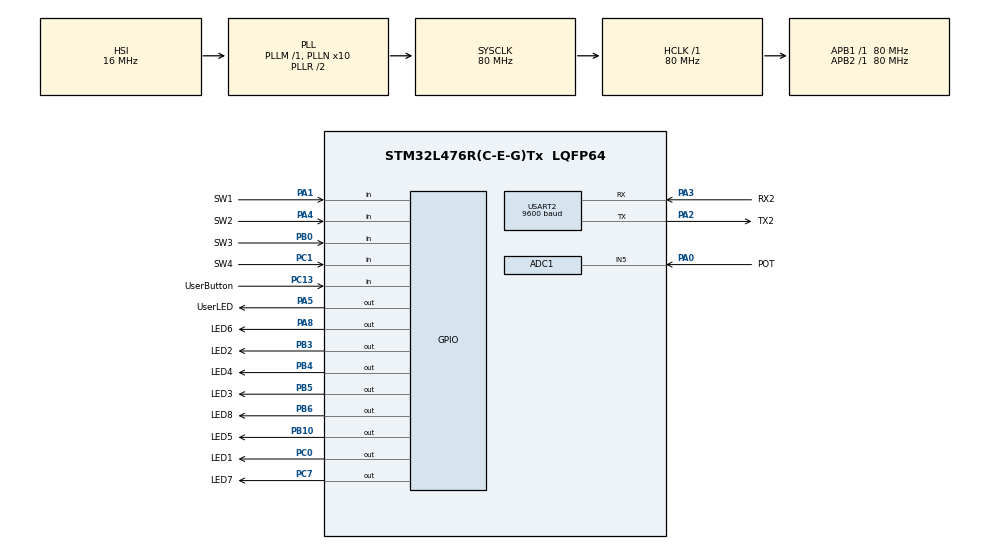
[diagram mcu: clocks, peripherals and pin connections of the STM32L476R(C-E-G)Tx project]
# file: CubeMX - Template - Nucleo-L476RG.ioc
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ADC1.Channel-0\#ChannelRegularConversion=ADC_CHANNEL_5
ADC1.NbrOfConversionFlag=1
ADC1.OffsetNumber-0\#ChannelRegularConversion=ADC_OFFSET_NONE
ADC1.Overrun=ADC_OVR_DATA_OVERWRITTEN
ADC1.Rank-0\#ChannelRegularConversion=1
ADC1.Resolution=ADC_RESOLUTION_12B
ADC1.SamplingTime-0\#ChannelRegularConversion=ADC_SAMPLETIME_2CYCLES_5
ADC1.master=1
Mcu.Family=STM32L4
Mcu.Name=STM32L476R(C-E-G)Tx
Mcu.Package=LQFP64
NVIC.PriorityGroup=NVIC_PRIORITYGROUP_4
PA0.GPIO_Label=POT
PA0.Signal=ADCx_IN5
PA1.GPIO_Label=SW1
PA1.Signal=GPIO_Input
PA13\ (JTMS-SWDIO).GPIO_Label=TMS
PA13\ (JTMS-SWDIO).Mode=Serial_Wire
PA13\ (JTMS-SWDIO).Signal=SYS_JTMS-SWDIO
PA14\ (JTCK-SWCLK).GPIO_Label=TCK
PA14\ (JTCK-SWCLK).Mode=Serial_Wire
PA14\ (JTCK-SWCLK).Signal=SYS_JTCK-SWCLK
PA2.GPIO_Label=TX2
PA2.GPIO_Mode=GPIO_MODE_AF_PP
PA2.GPIO_PuPd=GPIO_NOPULL
PA2.GPIO_Speed=GPIO_SPEED_FREQ_VERY_HIGH
PA2.Mode=Asynchronous
PA2.Signal=USART2_TX
PA3.GPIO_Label=RX2
PA3.GPIO_Mode=GPIO_MODE_AF_PP
PA3.GPIO_PuPd=GPIO_NOPULL
PA3.GPIO_Speed=GPIO_SPEED_FREQ_VERY_HIGH
PA3.Mode=Asynchronous
PA3.Signal=USART2_RX
PA4.GPIO_Label=SW2
PA4.Signal=GPIO_Input
PA5.GPIO_Label=UserLED
PA5.GPIO_ModeDefaultOutputPP=GPIO_MODE_OUTPUT_PP
PA5.GPIO_PuPd=GPIO_NOPULL
PA5.GPIO_Speed=GPIO_SPEED_FREQ_LOW
PA5.Signal=GPIO_Output
PA8.GPIO_Label=LED6
PA8.Signal=GPIO_Output
PB0.GPIO_Label=SW3
PB0.Signal=GPIO_Input
PB10.GPIO_Label=LED5
PB10.Signal=GPIO_Output
PB3\ (JTDO-TRACESWO).GPIO_Label=LED2
PB3\ (JTDO-TRACESWO).Signal=GPIO_Output
PB4\ (NJTRST).GPIO_Label=LED4
PB4\ (NJTRST).Signal=GPIO_Output
PB5.GPIO_Label=LED3
PB5.Signal=GPIO_Output
PB6.GPIO_Label=LED8
PB6.Signal=GPIO_Output
PC0.GPIO_Label=LED1
PC0.Signal=GPIO_Output
PC1.GPIO_Label=SW4
PC1.Signal=GPIO_Input
PC13.GPIO_Label=UserButton
PC13.Signal=GPIO_Input
PC7.GPIO_Label=LED7
PC7.Signal=GPIO_Output
ProjectManager.HeapSize=0x200
ProjectManager.StackSize=0x400
ProjectManager.TargetToolchain=MDK-ARM V5.32
RCC.ADCFreq_Value=64000000
RCC.AHBFreq_Value=80000000
RCC.APB1Freq_Value=80000000
RCC.APB1TimFreq_Value=80000000
RCC.APB2Freq_Value=80000000
RCC.APB2TimFreq_Value=80000000
RCC.CortexFreq_Value=80000000
RCC.HCLKFreq_Value=80000000
RCC.HSE_VALUE=8000000
RCC.HSI_VALUE=16000000
RCC.LSE_VALUE=32768
RCC.MSI_VALUE=4000000
RCC.PLLN=10
RCC.PLLSourceVirtual=RCC_PLLSOURCE_HSI
RCC.PREFETCH_ENABLE=1
RCC.SYSCLKFreq_VALUE=80000000
RCC.SYSCLKSource=RCC_SYSCLKSOURCE_PLLCLK
RCC.USBFreq_Value=64000000
RCC.VCOOutputFreq_Value=160000000
SH.ADCx_IN5.0=ADC1_IN5,IN5-Single-Ended
USART2.BaudRate=9600
USART2.OverrunDisableParam=ADVFEATURE_OVERRUN_DISABLE
USART2.VirtualMode-Asynchronous=VM_ASYNC
board=NUCLEO-L476RG

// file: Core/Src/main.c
/* USER CODE BEGIN Header */
/**
  ******************************************************************************
  * @file           : main.c
  * @brief          : Main program body
  ******************************************************************************
  * @attention
  *
  * Copyright (c) 2023 STMicroelectronics.
  * All rights reserved.
  *
  * This software is licensed under terms that can be found in the LICENSE file
  * in the root directory of this software component.
  * If no LICENSE file comes with this software, it is provided AS-IS.
  *
  ******************************************************************************
  */
	// Versie: 20252026
/* USER CODE END Header */
#include "main.h"

/* USER CODE BEGIN Includes */
#include "leds.h"
#include "buttons.h"
#include "usart2.h"
#include "ad.h"
#include "stdio.h"
#include "string.h"
#include "stdlib.h"
/* USER CODE END Includes */

/* USER CODE BEGIN PTD */
// Maak een struct die de toestand van het Nucleo Extension Shield bijhoudt.
// Die struct zou je later kunnen gebruiken om bijvoorbeeld in een C#-app
// real time de NES-status weer te geven...
typedef struct{
	uint8_t leds;
	uint8_t buttons;
	uint16_t adValue;
}NES;
/* USER CODE END PTD */

ADC_HandleTypeDef hadc1;

UART_HandleTypeDef huart2;

/* USER CODE BEGIN PV */

// OPM: wanneer je variabelen static maakt, behouden ze hun waarde tussen twee functieoproepen
//			en/of worden ze afgeschermd tegen gebruik buiten het bestand waarin ze aangemaakt worden.

// Maak een 8-bit unsigned integer.
static uint8_t count = 0;
// Maak een pointer (= plaats voor een verwijzing) naar een 8-bit unsigned integer.
static uint8_t* countPointer;

// Maak een struct aan van het type NES.
static NES nes;

// Maak een pointer (= plaats voor een verwijzing) naar een struct van het type NES.
static NES* nesPointer;

// Maak een array met plaats voor karakters. Merk op: als je enkel de naam van het array gebruikt,
// kan je die bekijken als een pointer naar het begin van dat array...
static char text[10];
// Maak een pointer naar een karakter.
static char* textPointer;
// Maak plaats voor ��n karakter.
static char character;

// Maak een pointer aan naar een void. Daarin kan je verwijzen naar eender welk type...
static void* voidPointer;
// Maak variabele aan die een AD-waarde kan bevatten.
static uint16_t voidPointerAdValue;

/* USER CODE END PV */

void SystemClock_Config(void);
static void MX_GPIO_Init(void);
static void MX_ADC1_Init(void);
static void MX_USART2_UART_Init(void);
/* USER CODE BEGIN PFP */
void UpdateNesState(NES* nes);
/* USER CODE END PFP */

int main(void)
{

  /* USER CODE BEGIN 1 */
  nes.leds = 1;

	nesPointer = &nes;
	(*nesPointer).buttons = 1;
	nesPointer->buttons = 1;
  /* USER CODE END 1 */

  /* MCU Configuration--------------------------------------------------------*/

  /* Reset of all peripherals, Initializes the Flash interface and the Systick. */
  HAL_Init();

  /* Configure the system clock */
  SystemClock_Config();

  /* Initialize all configured peripherals */
  MX_GPIO_Init();
  MX_ADC1_Init();
  MX_USART2_UART_Init();
  /* USER CODE BEGIN 2 */
	// Laten weten dat we opgestart zijn, via de USART2 (USB).
	strcpy(text, "Reboot\r\n");
	printf("%s", text);
  /* USER CODE END 2 */

  /* Infinite loop */
  /* USER CODE BEGIN WHILE */
  while (1)
  {
		// Deel 1: pointer naar een uint8_t.
		// Het adres van count opslaan in countPointer (hoeft eigenlijk maar ��n keer te gebeuren).
		countPointer = &count;
		// De inhoud waarnaar countPointer wijst, instellen op een willekeurige waarde.
		*countPointer = (uint8_t)(rand()%255);
		// De LED's aansturen.
		ByteToLeds(count);

		// Deel 2: array namen als pointer.
		// Gebruik de C-stringnaam om toe te wijzen aan een pointer naar een karakter.
		textPointer = text;
		// Zoek het derde karakter op in de string en wijs het toe aan een variabele.
		character = *(textPointer + 2);

		// Deel 3: pointer naar een struct.
		// Toestand van het Nucleo Extension Shield updaten.
		// Geef als parameter een pointer naar een NES mee.
		UpdateNesState(&nes);

		// Deel 4: pointer naar een void.
		// Je kan verwijzen naar gelijk wat als je een void pointer gebruikt...
		// Bekijk de inhoud van voidPointer na onderstaand statement. Je zal er het adres
		// van 'nes' in terugvinden.
		voidPointer = &nes;
		// Na correct casten, kan je ook de velden van de struct aanspreken.
		voidPointerAdValue = ((NES*)voidPointer)->adValue;

		// Druk zelf op enkele knoppen en stel de potentiometer in op
		// een zelfgekozen waarde.

		// Zet een break point bij HAL_Delay() en bekijk de inhoud van de integers, string, struct, ...

		// Even wachten.
		HAL_Delay(250);

    /* USER CODE END WHILE */

  }
}

void SystemClock_Config(void)
{
  RCC_OscInitTypeDef RCC_OscInitStruct = {0};
  RCC_ClkInitTypeDef RCC_ClkInitStruct = {0};

  /** Configure the main internal regulator output voltage
  */
  if (HAL_PWREx_ControlVoltageScaling(PWR_REGULATOR_VOLTAGE_SCALE1) != HAL_OK)
  {
    Error_Handler();
  }

  /** Initializes the RCC Oscillators according to the specified parameters
  * in the RCC_OscInitTypeDef structure.
  */
  RCC_OscInitStruct.OscillatorType = RCC_OSCILLATORTYPE_HSI;
  RCC_OscInitStruct.HSIState = RCC_HSI_ON;
  RCC_OscInitStruct.HSICalibrationValue = RCC_HSICALIBRATION_DEFAULT;
  RCC_OscInitStruct.PLL.PLLState = RCC_PLL_ON;
  RCC_OscInitStruct.PLL.PLLSource = RCC_PLLSOURCE_HSI;
  RCC_OscInitStruct.PLL.PLLM = 1;
  RCC_OscInitStruct.PLL.PLLN = 10;
  RCC_OscInitStruct.PLL.PLLP = RCC_PLLP_DIV7;
  RCC_OscInitStruct.PLL.PLLQ = RCC_PLLQ_DIV2;
  RCC_OscInitStruct.PLL.PLLR = RCC_PLLR_DIV2;
  if (HAL_RCC_OscConfig(&RCC_OscInitStruct) != HAL_OK)
  {
    Error_Handler();
  }

  /** Initializes the CPU, AHB and APB buses clocks
  */
  RCC_ClkInitStruct.ClockType = RCC_CLOCKTYPE_HCLK|RCC_CLOCKTYPE_SYSCLK
                              |RCC_CLOCKTYPE_PCLK1|RCC_CLOCKTYPE_PCLK2;
  RCC_ClkInitStruct.SYSCLKSource = RCC_SYSCLKSOURCE_PLLCLK;
  RCC_ClkInitStruct.AHBCLKDivider = RCC_SYSCLK_DIV1;
  RCC_ClkInitStruct.APB1CLKDivider = RCC_HCLK_DIV1;
  RCC_ClkInitStruct.APB2CLKDivider = RCC_HCLK_DIV1;

  if (HAL_RCC_ClockConfig(&RCC_ClkInitStruct, FLASH_LATENCY_4) != HAL_OK)
  {
    Error_Handler();
  }
}

static void MX_ADC1_Init(void)
{

  ADC_MultiModeTypeDef multimode = {0};
  ADC_ChannelConfTypeDef sConfig = {0};

  /** Common config
  */
  hadc1.Instance = ADC1;
  hadc1.Init.ClockPrescaler = ADC_CLOCK_ASYNC_DIV1;
  hadc1.Init.Resolution = ADC_RESOLUTION_12B;
  hadc1.Init.DataAlign = ADC_DATAALIGN_RIGHT;
  hadc1.Init.ScanConvMode = ADC_SCAN_DISABLE;
  hadc1.Init.EOCSelection = ADC_EOC_SINGLE_CONV;
  hadc1.Init.LowPowerAutoWait = DISABLE;
  hadc1.Init.ContinuousConvMode = DISABLE;
  hadc1.Init.NbrOfConversion = 1;
  hadc1.Init.DiscontinuousConvMode = DISABLE;
  hadc1.Init.ExternalTrigConv = ADC_SOFTWARE_START;
  hadc1.Init.ExternalTrigConvEdge = ADC_EXTERNALTRIGCONVEDGE_NONE;
  hadc1.Init.DMAContinuousRequests = DISABLE;
  hadc1.Init.Overrun = ADC_OVR_DATA_OVERWRITTEN;
  hadc1.Init.OversamplingMode = DISABLE;
  if (HAL_ADC_Init(&hadc1) != HAL_OK)
  {
    Error_Handler();
  }

  /** Configure the ADC multi-mode
  */
  multimode.Mode = ADC_MODE_INDEPENDENT;
  if (HAL_ADCEx_MultiModeConfigChannel(&hadc1, &multimode) != HAL_OK)
  {
    Error_Handler();
  }

  /** Configure Regular Channel
  */
  sConfig.Channel = ADC_CHANNEL_5;
  sConfig.Rank = ADC_REGULAR_RANK_1;
  sConfig.SamplingTime = ADC_SAMPLETIME_2CYCLES_5;
  sConfig.SingleDiff = ADC_SINGLE_ENDED;
  sConfig.OffsetNumber = ADC_OFFSET_NONE;
  sConfig.Offset = 0;
  if (HAL_ADC_ConfigChannel(&hadc1, &sConfig) != HAL_OK)
  {
    Error_Handler();
  }

}

static void MX_USART2_UART_Init(void)
{

  huart2.Instance = USART2;
  huart2.Init.BaudRate = 9600;
  huart2.Init.WordLength = UART_WORDLENGTH_8B;
  huart2.Init.StopBits = UART_STOPBITS_1;
  huart2.Init.Parity = UART_PARITY_NONE;
  huart2.Init.Mode = UART_MODE_TX_RX;
  huart2.Init.HwFlowCtl = UART_HWCONTROL_NONE;
  huart2.Init.OverSampling = UART_OVERSAMPLING_16;
  huart2.Init.OneBitSampling = UART_ONE_BIT_SAMPLE_DISABLE;
  huart2.AdvancedInit.AdvFeatureInit = UART_ADVFEATURE_RXOVERRUNDISABLE_INIT;
  huart2.AdvancedInit.OverrunDisable = UART_ADVFEATURE_OVERRUN_DISABLE;
  if (HAL_UART_Init(&huart2) != HAL_OK)
  {
    Error_Handler();
  }

}

static void MX_GPIO_Init(void)
{
  GPIO_InitTypeDef GPIO_InitStruct = {0};

  /* GPIO Ports Clock Enable */
  __HAL_RCC_GPIOC_CLK_ENABLE();
  __HAL_RCC_GPIOA_CLK_ENABLE();
  __HAL_RCC_GPIOB_CLK_ENABLE();

  /*Configure GPIO pin Output Level */
  HAL_GPIO_WritePin(GPIOC, LED1_Pin|LED7_Pin, GPIO_PIN_RESET);

  /*Configure GPIO pin Output Level */
  HAL_GPIO_WritePin(GPIOA, UserLED_Pin|LED6_Pin, GPIO_PIN_RESET);

  /*Configure GPIO pin Output Level */
  HAL_GPIO_WritePin(GPIOB, LED5_Pin|LED2_Pin|LED4_Pin|LED3_Pin
                          |LED8_Pin, GPIO_PIN_RESET);

  /*Configure GPIO pins : UserButton_Pin SW4_Pin */
  GPIO_InitStruct.Pin = UserButton_Pin|SW4_Pin;
  GPIO_InitStruct.Mode = GPIO_MODE_INPUT;
  GPIO_InitStruct.Pull = GPIO_NOPULL;
  HAL_GPIO_Init(GPIOC, &GPIO_InitStruct);

  /*Configure GPIO pins : LED1_Pin LED7_Pin */
  GPIO_InitStruct.Pin = LED1_Pin|LED7_Pin;
  GPIO_InitStruct.Mode = GPIO_MODE_OUTPUT_PP;
  GPIO_InitStruct.Pull = GPIO_NOPULL;
  GPIO_InitStruct.Speed = GPIO_SPEED_FREQ_LOW;
  HAL_GPIO_Init(GPIOC, &GPIO_InitStruct);

  /*Configure GPIO pins : SW1_Pin SW2_Pin */
  GPIO_InitStruct.Pin = SW1_Pin|SW2_Pin;
  GPIO_InitStruct.Mode = GPIO_MODE_INPUT;
  GPIO_InitStruct.Pull = GPIO_NOPULL;
  HAL_GPIO_Init(GPIOA, &GPIO_InitStruct);

  /*Configure GPIO pins : UserLED_Pin LED6_Pin */
  GPIO_InitStruct.Pin = UserLED_Pin|LED6_Pin;
  GPIO_InitStruct.Mode = GPIO_MODE_OUTPUT_PP;
  GPIO_InitStruct.Pull = GPIO_NOPULL;
  GPIO_InitStruct.Speed = GPIO_SPEED_FREQ_LOW;
  HAL_GPIO_Init(GPIOA, &GPIO_InitStruct);

  /*Configure GPIO pin : SW3_Pin */
  GPIO_InitStruct.Pin = SW3_Pin;
  GPIO_InitStruct.Mode = GPIO_MODE_INPUT;
  GPIO_InitStruct.Pull = GPIO_NOPULL;
  HAL_GPIO_Init(SW3_GPIO_Port, &GPIO_InitStruct);

  /*Configure GPIO pins : LED5_Pin LED2_Pin LED4_Pin LED3_Pin
                           LED8_Pin */
  GPIO_InitStruct.Pin = LED5_Pin|LED2_Pin|LED4_Pin|LED3_Pin
                          |LED8_Pin;
  GPIO_InitStruct.Mode = GPIO_MODE_OUTPUT_PP;
  GPIO_InitStruct.Pull = GPIO_NOPULL;
  GPIO_InitStruct.Speed = GPIO_SPEED_FREQ_LOW;
  HAL_GPIO_Init(GPIOB, &GPIO_InitStruct);

}

/* USER CODE BEGIN 4 */
void UpdateNesState(NES* nes)
{
	// De toestand van de LED's opvragen en opslaan in de struct.
	nes->leds = 0;
	if(HAL_GPIO_ReadPin(LED1_GPIO_Port, LED1_Pin) == GPIO_PIN_SET)
		nes->leds |= 0x01;
	if(HAL_GPIO_ReadPin(LED2_GPIO_Port, LED2_Pin) == GPIO_PIN_SET)
		nes->leds |= 0x02;
	if(HAL_GPIO_ReadPin(LED3_GPIO_Port, LED3_Pin) == GPIO_PIN_SET)
		nes->leds |= 0x04;
	if(HAL_GPIO_ReadPin(LED4_GPIO_Port, LED4_Pin) == GPIO_PIN_SET)
		nes->leds |= 0x08;
	if(HAL_GPIO_ReadPin(LED5_GPIO_Port, LED5_Pin) == GPIO_PIN_SET)
		nes->leds |= 0x10;
	if(HAL_GPIO_ReadPin(LED6_GPIO_Port, LED6_Pin) == GPIO_PIN_SET)
		nes->leds |= 0x20;
	if(HAL_GPIO_ReadPin(LED7_GPIO_Port, LED7_Pin) == GPIO_PIN_SET)
		nes->leds |= 0x40;
	if(HAL_GPIO_ReadPin(LED8_GPIO_Port, LED8_Pin) == GPIO_PIN_SET)
		nes->leds |= 0x80;

	// De toestand van de knoppen opvragen en opslaan in de struct.
	nes->buttons = 0;
	if(HAL_GPIO_ReadPin(SW1_GPIO_Port, SW1_Pin) == GPIO_PIN_RESET)
		nes->buttons |= 0x01;
	if(HAL_GPIO_ReadPin(SW2_GPIO_Port, SW2_Pin) == GPIO_PIN_RESET)
		nes->buttons |= 0x02;
	if(HAL_GPIO_ReadPin(SW3_GPIO_Port, SW3_Pin) == GPIO_PIN_RESET)
		nes->buttons |= 0x04;
	if(HAL_GPIO_ReadPin(SW4_GPIO_Port, SW4_Pin) == GPIO_PIN_RESET)
		nes->buttons |= 0x08;

	// De AD-waarde opvragen en opslaan.
	nes->adValue = GetAdValue(&hadc1);
}
/* USER CODE END 4 */

void Error_Handler(void)
{
  __disable_irq();
  while (1)
  {
  }
}
#ifdef USE_FULL_ASSERT
/**
  * @brief  Reports the name of the source file and the source line number
  *         where the assert_param error has occurred.
  * @param  file: pointer to the source file name
  * @param  line: assert_param error line source number
  * @retval None
  */
void assert_failed(uint8_t *file, uint32_t line)
{
  /* USER CODE BEGIN 6 */
  /* User can add his own implementation to report the file name and line number,
     ex: printf("Wrong parameters value: file %s on line %d\r\n", file, line) */
// Versie: 20252026
  /* USER CODE END 6 */
}
#endif /* USE_FULL_ASSERT */
